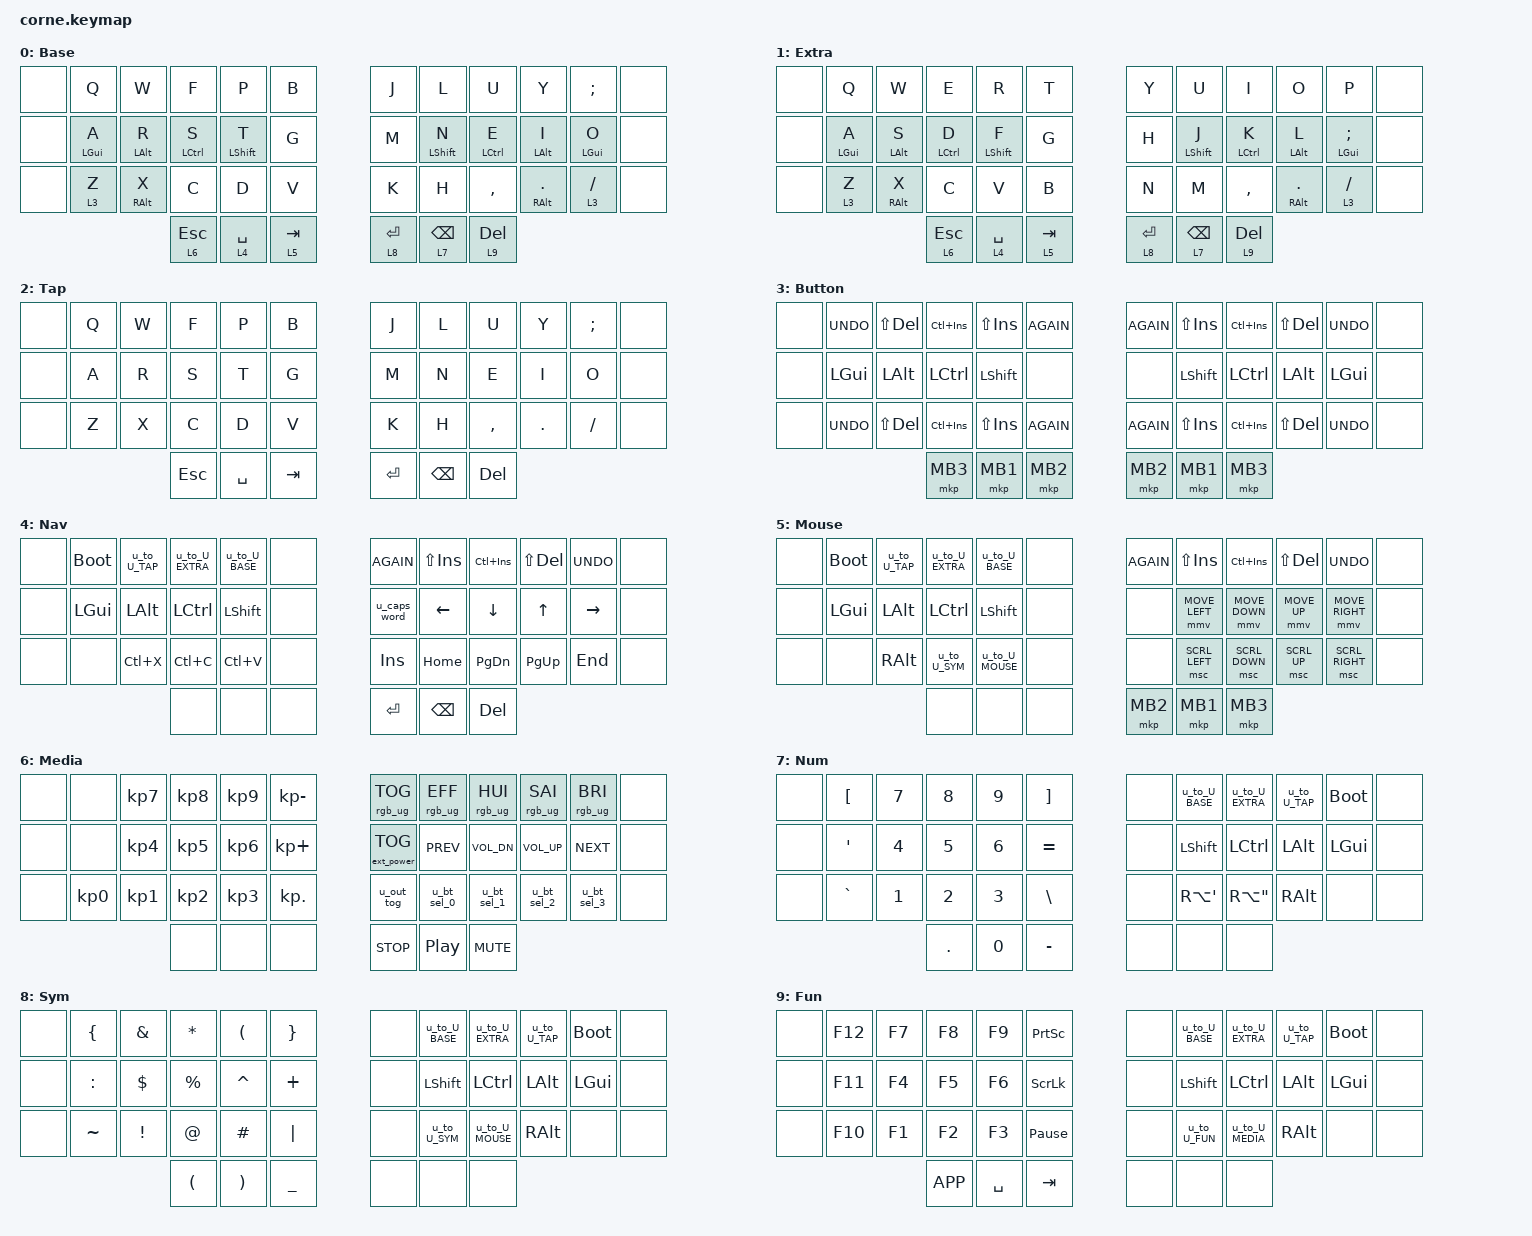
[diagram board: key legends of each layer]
/*
 * Clavis Keyboard Keymap
 * Based on Miryoku layout
 * 
 * This keymap is configured for a split keyboard with the following layers:
 * - BASE: Primary typing layer with Colemak-DH layout
 * - EXTRA: Alternative typing layer with QWERTY layout
 * - TAP: Simple tap layer without modifiers
 * - BUTTON: Button and modifier combinations
 * - NAV: Navigation and editing keys
 * - MOUSE: Mouse movement and scrolling
 * - MEDIA: Media controls and RGB lighting
 * - NUM: Number pad and symbols
 * - SYM: Symbol layer
 * - FUN: Function keys
 */

#include <behaviors.dtsi>
#include <behaviors/mouse_keys.dtsi>
#include <dt-bindings/zmk/keys.h>
#include <dt-bindings/zmk/bt.h>
#include <dt-bindings/zmk/rgb.h>
#include <dt-bindings/zmk/outputs.h>
#include <dt-bindings/zmk/ext_power.h>
#include <dt-bindings/zmk/pointing.h>

/ {
  keymap {
    compatible = "zmk,keymap";

    /* 
     * BASE Layer - Primary typing layer (Colemak-DH)
     * Home row mods: A(LGUI), R(LALT), S(LCTRL), T(LSHFT) | N(LSHFT), E(LCTRL), I(LALT), O(LGUI)
     */
    BASE {
      display-name = "Base";
      bindings = <
        &none  &kp Q  &kp W  &kp F  &kp P  &kp B       &kp J  &kp L  &kp U  &kp Y  &kp SEMI  &none
        &none  &u_mt LGUI A  &u_mt LALT R  &u_mt LCTRL S  &u_mt LSHFT T  &kp G       &kp M  &u_mt LSHFT N  &u_mt LCTRL E  &u_mt LALT I  &u_mt LGUI O  &none
        &none  &u_lt 3 Z  &u_mt RALT X  &kp C  &kp D  &kp V       &kp K  &kp H  &kp COMMA  &u_mt RALT DOT  &u_lt 3 SLASH  &none
                        &u_lt 6 ESC  &u_lt 4 SPACE  &u_lt 5 TAB       &u_lt 8 RET  &u_lt 7 BSPC  &u_lt 9 DEL
      >;
    };

    /* 
     * EXTRA Layer - Alternative typing layer (QWERTY)
     * Home row mods: A(LGUI), S(LALT), D(LCTRL), F(LSHFT) | J(LSHFT), K(LCTRL), L(LALT), ;(LGUI)
     */
    EXTRA {
      display-name = "Extra";
      bindings = <
        &none  &kp Q  &kp W  &kp E  &kp R  &kp T       &kp Y  &kp U  &kp I  &kp O  &kp P  &none
        &none  &u_mt LGUI A  &u_mt LALT S  &u_mt LCTRL D  &u_mt LSHFT F  &kp G       &kp H  &u_mt LSHFT J  &u_mt LCTRL K  &u_mt LALT L  &u_mt LGUI SEMI  &none
        &none  &u_lt 3 Z  &u_mt RALT X  &kp C  &kp V  &kp B       &kp N  &kp M  &kp COMMA  &u_mt RALT DOT  &u_lt 3 SLASH  &none
                        &u_lt 6 ESC  &u_lt 4 SPACE  &u_lt 5 TAB       &u_lt 8 RET  &u_lt 7 BSPC  &u_lt 9 DEL
      >;
    };

    /* 
     * TAP Layer - Simple tap layer without home row mods
     */
    TAP {
      display-name = "Tap";
      bindings = <
        &none  &kp Q  &kp W  &kp F  &kp P  &kp B       &kp J  &kp L  &kp U  &kp Y  &kp SEMI  &none
        &none  &kp A  &kp R  &kp S  &kp T  &kp G       &kp M  &kp N  &kp E  &kp I  &kp O  &none
        &none  &kp Z  &kp X  &kp C  &kp D  &kp V       &kp K  &kp H  &kp COMMA  &kp DOT  &kp SLASH  &none
                        &kp ESC  &kp SPACE  &kp TAB       &kp RET  &kp BSPC  &kp DEL
      >;
    };

    /* 
     * BUTTON Layer - Button and modifier combinations
     */
    BUTTON {
      display-name = "Button";
      bindings = <
        &none  &kp K_UNDO  &kp LS(DEL)  &kp LC(INS)  &kp LS(INS)  &kp K_AGAIN       &kp K_AGAIN  &kp LS(INS)  &kp LC(INS)  &kp LS(DEL)  &kp K_UNDO  &none
        &none  &kp LGUI  &kp LALT  &kp LCTRL  &kp LSHFT  &none       &none  &kp LSHFT  &kp LCTRL  &kp LALT  &kp LGUI  &none
        &none  &kp K_UNDO  &kp LS(DEL)  &kp LC(INS)  &kp LS(INS)  &kp K_AGAIN       &kp K_AGAIN  &kp LS(INS)  &kp LC(INS)  &kp LS(DEL)  &kp K_UNDO  &none
                        &mkp MB3  &mkp MB1  &mkp MB2       &mkp MB2  &mkp MB1  &mkp MB3
      >;
    };

    /* 
     * NAV Layer - Navigation and editing keys
     */
    NAV {
      display-name = "Nav";
      bindings = <
        &none  &bootloader  &u_to_U_TAP  &u_to_U_EXTRA  &u_to_U_BASE  &none       &kp K_AGAIN  &kp LS(INS)  &kp LC(INS)  &kp LS(DEL)  &kp K_UNDO  &none
        &none  &kp LGUI  &kp LALT  &kp LCTRL  &kp LSHFT  &none       &u_caps_word  &kp LEFT  &kp DOWN  &kp UP  &kp RIGHT  &none
        &none  &none  &kp LC(X)  &kp LC(C)  &kp LC(V)  &none       &kp INS  &kp HOME  &kp PG_DN  &kp PG_UP  &kp END  &none
                        &none  &none  &none       &kp RET  &kp BSPC  &kp DEL
      >;
    };

    /* 
     * MOUSE Layer - Mouse movement and scrolling
     */
    MOUSE {
      display-name = "Mouse";
      bindings = <
        &none  &bootloader  &u_to_U_TAP  &u_to_U_EXTRA  &u_to_U_BASE  &none       &kp K_AGAIN  &kp LS(INS)  &kp LC(INS)  &kp LS(DEL)  &kp K_UNDO  &none
        &none  &kp LGUI  &kp LALT  &kp LCTRL  &kp LSHFT  &none       &none  &mmv MOVE_LEFT  &mmv MOVE_DOWN  &mmv MOVE_UP  &mmv MOVE_RIGHT  &none
        &none  &none  &kp RALT  &u_to_U_SYM  &u_to_U_MOUSE  &none       &none  &msc SCRL_LEFT  &msc SCRL_DOWN  &msc SCRL_UP  &msc SCRL_RIGHT  &none
                        &none  &none  &none       &mkp MB2  &mkp MB1  &mkp MB3
      >;
    };

    /* 
     * MEDIA Layer - Media controls and RGB lighting
     */
    MEDIA {
      display-name = "Media";
      bindings = <
        &none  &none  &kp KP_N7  &kp KP_N8  &kp KP_N9  &kp KP_MINUS       &rgb_ug RGB_TOG  &rgb_ug RGB_EFF  &rgb_ug RGB_HUI  &rgb_ug RGB_SAI  &rgb_ug RGB_BRI  &none
        &none  &none  &kp KP_N4  &kp KP_N5  &kp KP_N6  &kp KP_PLUS       &ext_power EP_TOG  &kp C_PREV  &kp C_VOL_DN  &kp C_VOL_UP  &kp C_NEXT  &none
        &none  &kp KP_N0  &kp KP_N1  &kp KP_N2  &kp KP_N3  &kp KP_DOT       &u_out_tog  &u_bt_sel_0  &u_bt_sel_1  &u_bt_sel_2  &u_bt_sel_3  &none
                        &none  &none  &none       &kp C_STOP  &kp C_PP  &kp C_MUTE
      >;
    };

    /* 
     * NUM Layer - Number pad and symbols
     */
    NUM {
      display-name = "Num";
      bindings = <
        &none  &kp LBKT  &kp N7  &kp N8  &kp N9  &kp RBKT       &none  &u_to_U_BASE  &u_to_U_EXTRA  &u_to_U_TAP  &bootloader  &none
        &none  &kp SQT  &kp N4  &kp N5  &kp N6  &kp EQUAL       &none  &kp LSHFT  &kp LCTRL  &kp LALT  &kp LGUI  &none
        &none  &kp GRAVE  &kp N1  &kp N2  &kp N3  &kp BSLH       &none  &kp RA(SQT)  &kp RA(DQT)  &kp RALT  &none  &none
                        &kp DOT  &kp N0  &kp MINUS       &none  &none  &none
      >;
    };

    /* 
     * SYM Layer - Symbol layer
     */
    SYM {
      display-name = "Sym";
      bindings = <
        &none  &kp LBRC  &kp AMPS  &kp ASTRK  &kp LPAR  &kp RBRC       &none  &u_to_U_BASE  &u_to_U_EXTRA  &u_to_U_TAP  &bootloader  &none
        &none  &kp COLON  &kp DLLR  &kp PRCNT  &kp CARET  &kp PLUS       &none  &kp LSHFT  &kp LCTRL  &kp LALT  &kp LGUI  &none
        &none  &kp TILDE  &kp EXCL  &kp AT  &kp HASH  &kp PIPE       &none  &u_to_U_SYM  &u_to_U_MOUSE  &kp RALT  &none  &none
                        &kp LPAR  &kp RPAR  &kp UNDER       &none  &none  &none
      >;
    };

    /* 
     * FUN Layer - Function keys
     */
    FUN {
      display-name = "Fun";
      bindings = <
        &none  &kp F12  &kp F7  &kp F8  &kp F9  &kp PSCRN       &none  &u_to_U_BASE  &u_to_U_EXTRA  &u_to_U_TAP  &bootloader  &none
        &none  &kp F11  &kp F4  &kp F5  &kp F6  &kp SLCK       &none  &kp LSHFT  &kp LCTRL  &kp LALT  &kp LGUI  &none
        &none  &kp F10  &kp F1  &kp F2  &kp F3  &kp PAUSE_BREAK       &none  &u_to_U_FUN  &u_to_U_MEDIA  &kp RALT  &none  &none
                        &kp K_APP  &kp SPACE  &kp TAB       &none  &none  &none
      >;
    };
  };
};

/*
 * Bluetooth Selection Macros
 * These macros allow switching between Bluetooth profiles with shift+key
 */
/ {
  macros {
    u_macro_u_bt_sel_0: u_macro_u_bt_sel_0 {
      compatible = "zmk,behavior-macro";
      #binding-cells = <0>;
      wait-ms = <0>;
      bindings = <&bt BT_SEL 0 &bt BT_CLR>;
    };
  };
};

/ {
  behaviors {
    u_bt_sel_0: u_bt_sel_0 {
      compatible = "zmk,behavior-mod-morph";
      #binding-cells = <0>;
      bindings = <&bt BT_SEL 0>, <&u_macro_u_bt_sel_0>;
      mods = <(MOD_LSFT|MOD_RSFT)>;
    };
  };
};

/ {
  macros {
    u_macro_u_bt_sel_1: u_macro_u_bt_sel_1 {
      compatible = "zmk,behavior-macro";
      #binding-cells = <0>;
      wait-ms = <0>;
      bindings = <&bt BT_SEL 1 &bt BT_CLR>;
    };
  };
};

/ {
  behaviors {
    u_bt_sel_1: u_bt_sel_1 {
      compatible = "zmk,behavior-mod-morph";
      #binding-cells = <0>;
      bindings = <&bt BT_SEL 1>, <&u_macro_u_bt_sel_1>;
      mods = <(MOD_LSFT|MOD_RSFT)>;
    };
  };
};

/ {
  macros {
    u_macro_u_bt_sel_2: u_macro_u_bt_sel_2 {
      compatible = "zmk,behavior-macro";
      #binding-cells = <0>;
      wait-ms = <0>;
      bindings = <&bt BT_SEL 2 &bt BT_CLR>;
    };
  };
};

/ {
  behaviors {
    u_bt_sel_2: u_bt_sel_2 {
      compatible = "zmk,behavior-mod-morph";
      #binding-cells = <0>;
      bindings = <&bt BT_SEL 2>, <&u_macro_u_bt_sel_2>;
      mods = <(MOD_LSFT|MOD_RSFT)>;
    };
  };
};

/ {
  macros {
    u_macro_u_bt_sel_3: u_macro_u_bt_sel_3 {
      compatible = "zmk,behavior-macro";
      #binding-cells = <0>;
      wait-ms = <0>;
      bindings = <&bt BT_SEL 3 &bt BT_CLR>;
    };
  };
};

/ {
  behaviors {
    u_bt_sel_3: u_bt_sel_3 {
      compatible = "zmk,behavior-mod-morph";
      #binding-cells = <0>;
      bindings = <&bt BT_SEL 3>, <&u_macro_u_bt_sel_3>;
      mods = <(MOD_LSFT|MOD_RSFT)>;
    };
  };
};

/ {
  macros {
    u_macro_u_bt_sel_4: u_macro_u_bt_sel_4 {
      compatible = "zmk,behavior-macro";
      #binding-cells = <0>;
      wait-ms = <0>;
      bindings = <&bt BT_SEL 4 &bt BT_CLR>;
    };
  };
};

/ {
  behaviors {
    u_bt_sel_4: u_bt_sel_4 {
      compatible = "zmk,behavior-mod-morph";
      #binding-cells = <0>;
      bindings = <&bt BT_SEL 4>, <&u_macro_u_bt_sel_4>;
      mods = <(MOD_LSFT|MOD_RSFT)>;
    };
  };
};

/*
 * Special Function Behaviors
 */
/ {
  behaviors {
    u_out_tog: u_out_tog {
      compatible = "zmk,behavior-mod-morph";
      #binding-cells = <0>;
      bindings = <&out OUT_TOG>, <&out OUT_USB>;
      mods = <(MOD_LSFT|MOD_RSFT)>;
    };
  };
};

/ {
  behaviors {
    u_caps_word: u_caps_word {
      compatible = "zmk,behavior-mod-morph";
      #binding-cells = <0>;
      bindings = <&caps_word>, <&kp CAPS>;
      mods = <(MOD_LSFT|MOD_RSFT)>;
    };
  };
};

/*
 * Double Tap Guard Behaviors
 * These prevent accidental layer switches by requiring a double tap
 */
/ {
  behaviors {
    u_to_U_BASE: u_to_U_BASE {
      compatible = "zmk,behavior-tap-dance";
      #binding-cells = <0>;
      tapping-term-ms = <200>;
      bindings = <&none>, <&to 0>;
    };
  };
};

/ {
  behaviors {
    u_to_U_EXTRA: u_to_U_EXTRA {
      compatible = "zmk,behavior-tap-dance";
      #binding-cells = <0>;
      tapping-term-ms = <200>;
      bindings = <&none>, <&to 1>;
    };
  };
};

/ {
  behaviors {
    u_to_U_TAP: u_to_U_TAP {
      compatible = "zmk,behavior-tap-dance";
      #binding-cells = <0>;
      tapping-term-ms = <200>;
      bindings = <&none>, <&to 2>;
    };
  };
};

/ {
  behaviors {
    u_to_U_BUTTON: u_to_U_BUTTON {
      compatible = "zmk,behavior-tap-dance";
      #binding-cells = <0>;
      tapping-term-ms = <200>;
      bindings = <&none>, <&to 3>;
    };
  };
};

/ {
  behaviors {
    u_to_U_NAV: u_to_U_NAV {
      compatible = "zmk,behavior-tap-dance";
      #binding-cells = <0>;
      tapping-term-ms = <200>;
      bindings = <&none>, <&to 4>;
    };
  };
};

/ {
  behaviors {
    u_to_U_MOUSE: u_to_U_MOUSE {
      compatible = "zmk,behavior-tap-dance";
      #binding-cells = <0>;
      tapping-term-ms = <200>;
      bindings = <&none>, <&to 5>;
    };
  };
};

/ {
  behaviors {
    u_to_U_MEDIA: u_to_U_MEDIA {
      compatible = "zmk,behavior-tap-dance";
      #binding-cells = <0>;
      tapping-term-ms = <200>;
      bindings = <&none>, <&to 6>;
    };
  };
};

/ {
  behaviors {
    u_to_U_NUM: u_to_U_NUM {
      compatible = "zmk,behavior-tap-dance";
      #binding-cells = <0>;
      tapping-term-ms = <200>;
      bindings = <&none>, <&to 7>;
    };
  };
};

/ {
  behaviors {
    u_to_U_SYM: u_to_U_SYM {
      compatible = "zmk,behavior-tap-dance";
      #binding-cells = <0>;
      tapping-term-ms = <200>;
      bindings = <&none>, <&to 8>;
    };
  };
};

/ {
  behaviors {
    u_to_U_FUN: u_to_U_FUN {
      compatible = "zmk,behavior-tap-dance";
      #binding-cells = <0>;
      tapping-term-ms = <200>;
      bindings = <&none>, <&to 9>;
    };
  };
};

/*
 * Mouse Key Configuration
 */
&mmv {
  acceleration-exponent = <1>;
  time-to-max-speed-ms = <1500>;
  delay-ms = <0>;
};

/*
 * Custom Behaviors
 */
/ {
  behaviors {
    u_mt: u_mt {
      compatible = "zmk,behavior-hold-tap";
      #binding-cells = <2>;
      tapping-term-ms = <200>;
      flavor = "tap-preferred";
      bindings = <&kp>, <&kp>;
    };
    u_lt: u_lt {
      compatible = "zmk,behavior-hold-tap";
      #binding-cells = <2>;
      tapping-term-ms = <200>;
      flavor = "tap-preferred";
      bindings = <&mo>, <&kp>;
    };
  };
};
